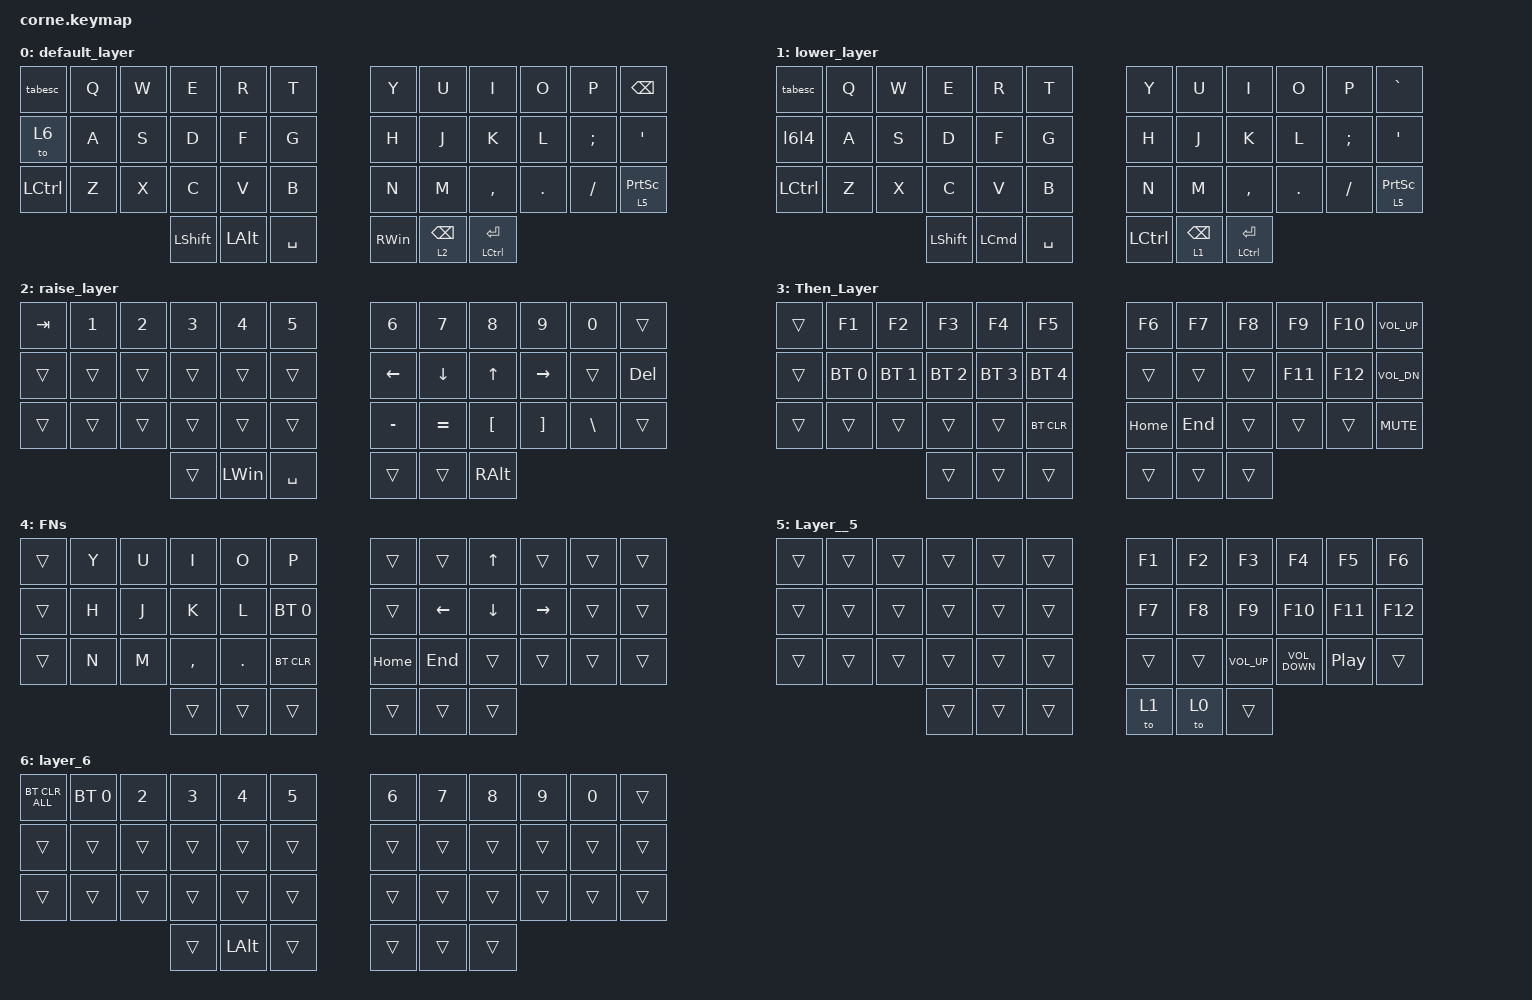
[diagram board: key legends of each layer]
/*
 * Copyright (c) 2020 The ZMK Contributors
 *
 * SPDX-License-Identifier: MIT
 */

#include <behaviors.dtsi>
#include <dt-bindings/zmk/bt.h>
#include <dt-bindings/zmk/keys.h>

/ {
    conditional_layers {
        compatible = "zmk,conditional-layers";

        tri_layer {
            if-layers = <1 2>;
            then-layer = <3>;
        };
    };
};

/ {
    combos { compatible = "zmk,combos"; };

    behaviors {
        tabesc: tab_escape_grave {
            compatible = "zmk,behavior-mod-morph";
            label = "TAB_ESCAPE_GRAVE";
            #binding-cells = <0>;
            bindings = <&gresc>, <&kp TAB>;

            mods = <(MOD_LALT|MOD_RALT|MOD_LSFT)>;
            keep-mods = <(MOD_LALT|MOD_RALT)>;
        };

        shiftlayer: shift_layer {
            compatible = "zmk,behavior-mod-morph";
            label = "SHIFT_LAYER";
            #binding-cells = <0>;
            bindings = <&mo 1>, <&kp LEFT_SHIFT>;

            mods = <(MOD_LCTL|MOD_RCTL)>;
        };

        l2l4: layer2_layer4 {
            compatible = "zmk,behavior-tap-dance";
            label = "LAYER2_LAYER4";
            #binding-cells = <0>;
            tapping-term-ms = <200>;
            bindings = <&mo 2>, <&mo 4>;
        };

        l6l4: layer6_layer4 {
            compatible = "zmk,behavior-tap-dance";
            label = "LAYER6_LAYER4";
            #binding-cells = <0>;
            tapping-term-ms = <200>;
            bindings = <&mo 6>, <&mo 4>;
        };

        lmt: long_mod_tap {
            compatible = "zmk,behavior-hold-tap";
            label = "LONG_MOD_TAP";
            #binding-cells = <2>;
            flavor = "hold-preferred";
            tapping-term-ms = <400>;
            quick-tap-ms = <300>;
            bindings = <&kp>, <&kp>;
        };

        lmo: long_mod_layer {
            compatible = "zmk,behavior-hold-tap";
            label = "long_mod_layer";
            #binding-cells = <2>;
            flavor = "hold-preferred";
            tapping-term-ms = <400>;
            quick-tap-ms = <200>;
            bindings = <&mo>, <&kp>;
        };

        new_behavior: new_behavior {
            compatible = "zmk,behavior-tap-dance";
            label = "NEW_BEHAVIOR";
            #binding-cells = <0>;
            tapping-term-ms = <200>;
            bindings = <&mo 6>, <&mo 4>;
        };
    };

    keymap {
        compatible = "zmk,keymap";

        default_layer {
            // -----------------------------------------------------------------------------------------
            // |  TAB |  Q  |  W  |  E  |  R  |  T  |   |  Y  |  U   |  I  |  O  |  P  | BKSP |
            // | CTRL |  A  |  S  |  D  |  F  |  G  |   |  H  |  J   |  K  |  L  |  ;  |  '   |
            // | SHFT |  Z  |  X  |  C  |  V  |  B  |   |  N  |  M   |  ,  |  .  |  /  | ESC  |
            //                    | GUI | LWR | SPC |   | ENT | RSE  | ALT |

            bindings = <
&tabesc    &kp Q  &kp W  &kp E           &kp R         &kp T        &kp Y          &kp U        &kp I             &kp O    &kp P      &kp BSPC
&to 6      &kp A  &kp S  &kp D           &kp F         &kp G        &kp H          &kp J        &kp K             &kp L    &kp SEMI   &kp SQT
&kp LCTRL  &kp Z  &kp X  &kp C           &kp V         &kp B        &kp N          &kp M        &kp COMMA         &kp DOT  &kp SLASH  &lmo 5 PRINTSCREEN
                         &kp LEFT_SHIFT  &kp LEFT_ALT  &kp SPACE    &kp RIGHT_WIN  &lmo 2 BSPC  &lmt LCTRL ENTER
            >;
        };

        lower_layer {
            // -----------------------------------------------------------------------------------------
            // |  TAB |  1  |  2  |  3  |  4  |  5  |   |  6  |  7  |  8  |  9  |  0  | BKSP |
            // | BTCLR| BT1 | BT2 | BT3 | BT4 | BT5 |   | LFT | DWN |  UP | RGT |     |      |
            // | SHFT |     |     |     |     |     |   |     |     |     |     |     |      |
            //                    | GUI |     | SPC |   | ENT |     | ALT |

            bindings = <
&tabesc    &kp Q  &kp W  &kp E           &kp R     &kp T        &kp Y      &kp U             &kp I             &kp O       &kp P          &kp GRAVE
&l6l4      &kp A  &kp S  &kp D           &kp F     &kp G        &kp H      &kp J             &kp K             &kp L       &kp SEMICOLON  &kp SQT
&kp LCTRL  &kp Z  &kp X  &kp C           &kp V     &kp B        &kp N      &kp M             &kp COMMA         &kp PERIOD  &kp SLASH      &lmo 5 PRINTSCREEN
                         &kp LEFT_SHIFT  &kp LCMD  &kp SPACE    &kp LCTRL  &lmo 1 BACKSPACE  &lmt LCTRL ENTER
            >;
        };

        raise_layer {
            // -----------------------------------------------------------------------------------------
            // |  TAB |  !  |  @  |  #  |  $  |  %  |   |  ^  |  &  |  *  |  (  |  )  | BKSP |
            // | CTRL |     |     |     |     |     |   |  -  |  =  |  [  |  ]  |  \  |  `   |
            // | SHFT |     |     |     |     |     |   |  _  |  +  |  {  |  }  | "|" |  ~   |
            //                    | GUI |     | SPC |   | ENT |     | ALT |

            bindings = <
&kp TAB  &kp N1  &kp N2  &kp N3  &kp N4        &kp N5       &kp N6          &kp N7          &kp N8            &kp N9             &kp N0         &trans
&trans   &trans  &trans  &trans  &trans        &trans       &kp LEFT_ARROW  &kp DOWN_ARROW  &kp UP_ARROW      &kp RIGHT_ARROW    &trans         &kp DELETE
&trans   &trans  &trans  &trans  &trans        &trans       &kp MINUS       &kp EQUAL       &kp LEFT_BRACKET  &kp RIGHT_BRACKET  &kp BACKSLASH  &trans
                         &trans  &kp LEFT_WIN  &kp SPACE    &trans          &trans          &kp RALT
            >;
        };

        Then_Layer {
            bindings = <
&trans  &kp F1        &kp F2        &kp F3        &kp F4        &kp F5          &kp F6    &kp F7   &kp F8  &kp F9   &kp F10  &kp C_VOL_UP
&trans  &bt BT_SEL 0  &bt BT_SEL 1  &bt BT_SEL 2  &bt BT_SEL 3  &bt BT_SEL 4    &trans    &trans   &trans  &kp F11  &kp F12  &kp C_VOL_DN
&trans  &trans        &trans        &trans        &trans        &bt BT_CLR      &kp HOME  &kp END  &trans  &trans   &trans   &kp C_MUTE
                                    &trans        &trans        &trans          &trans    &trans   &trans
            >;
        };

        FNs {
            bindings = <
&trans  &kp Y  &kp U  &kp I      &kp O    &kp P           &trans    &trans          &kp UP_ARROW    &trans           &trans  &trans
&trans  &kp H  &kp J  &kp K      &kp L    &bt BT_SEL 0    &trans    &kp LEFT_ARROW  &kp DOWN_ARROW  &kp RIGHT_ARROW  &trans  &trans
&trans  &kp N  &kp M  &kp COMMA  &kp DOT  &bt BT_CLR      &kp HOME  &kp END         &trans          &trans           &trans  &trans
                      &trans     &trans   &trans          &trans    &trans          &trans
            >;
        };

        Layer__5 {
            bindings = <
&trans  &trans  &trans  &trans  &trans  &trans    &kp F1  &kp F2  &kp F3           &kp F4             &kp F5            &kp F6
&trans  &trans  &trans  &trans  &trans  &trans    &kp F7  &kp F8  &kp F9           &kp F10            &kp F11           &kp F12
&trans  &trans  &trans  &trans  &trans  &trans    &trans  &trans  &kp C_VOLUME_UP  &kp C_VOLUME_DOWN  &kp C_PLAY_PAUSE  &trans
                        &trans  &trans  &trans    &to 1   &to 0   &trans
            >;
        };

        layer_6 {
            bindings = <
&bt BT_CLR_ALL  &bt BT_SEL 0  &kp N2  &kp N3  &kp N4        &kp N5    &kp N6  &kp N7  &kp N8  &kp N9  &kp N0  &trans
&trans          &trans        &trans  &trans  &trans        &trans    &trans  &trans  &trans  &trans  &trans  &trans
&trans          &trans        &trans  &trans  &trans        &trans    &trans  &trans  &trans  &trans  &trans  &trans
                                      &trans  &kp LEFT_ALT  &trans    &trans  &trans  &trans
            >;
        };
    };
};
